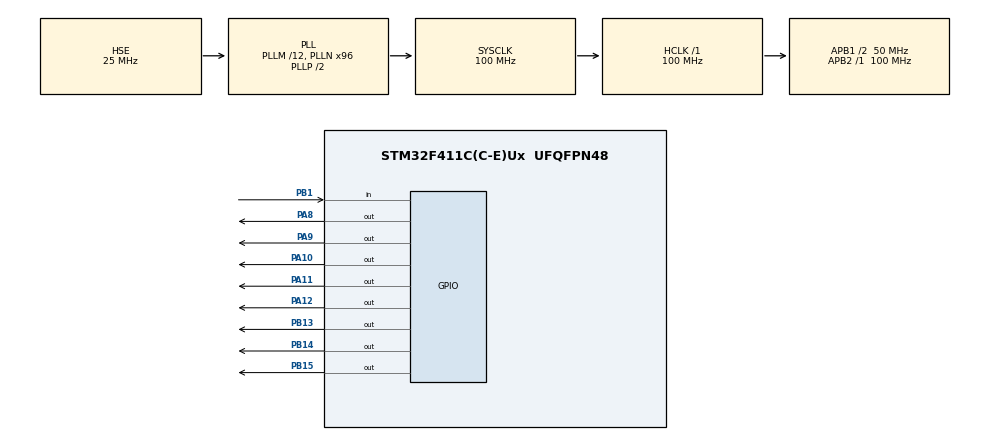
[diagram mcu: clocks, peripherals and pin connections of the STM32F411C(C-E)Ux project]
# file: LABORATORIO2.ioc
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Mcu.Family=STM32F4
Mcu.Name=STM32F411C(C-E)Ux
Mcu.Package=UFQFPN48
NVIC.PriorityGroup=NVIC_PRIORITYGROUP_4
PA10.Signal=GPIO_Output
PA11.Signal=GPIO_Output
PA12.Signal=GPIO_Output
PA13.Mode=Serial_Wire
PA13.Signal=SYS_JTMS-SWDIO
PA14.Mode=Serial_Wire
PA14.Signal=SYS_JTCK-SWCLK
PA8.Signal=GPIO_Output
PA9.Signal=GPIO_Output
PB1.GPIO_PuPd=GPIO_NOPULL
PB1.Signal=GPIO_Input
PB13.Signal=GPIO_Output
PB14.Signal=GPIO_Output
PB15.Signal=GPIO_Output
PH0\ -\ OSC_IN.Mode=HSE-External-Oscillator
PH0\ -\ OSC_IN.Signal=RCC_OSC_IN
PH1\ -\ OSC_OUT.Mode=HSE-External-Oscillator
PH1\ -\ OSC_OUT.Signal=RCC_OSC_OUT
ProjectManager.HeapSize=0x200
ProjectManager.StackSize=0x400
ProjectManager.TargetToolchain=STM32CubeIDE
RCC.48MHZClocksFreq_Value=50000000
RCC.AHBFreq_Value=100000000
RCC.APB1CLKDivider=RCC_HCLK_DIV2
RCC.APB1Freq_Value=50000000
RCC.APB1TimFreq_Value=100000000
RCC.APB2Freq_Value=100000000
RCC.APB2TimFreq_Value=100000000
RCC.CortexFreq_Value=100000000
RCC.HCLKFreq_Value=100000000
RCC.HSE_VALUE=25000000
RCC.HSI_VALUE=16000000
RCC.PLLM=12
RCC.PLLN=96
RCC.PLLSourceVirtual=RCC_PLLSOURCE_HSE
RCC.SYSCLKFreq_VALUE=100000000
RCC.SYSCLKSource=RCC_SYSCLKSOURCE_PLLCLK
RCC.VCOOutputFreq_Value=200000000
board=custom

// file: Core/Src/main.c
/* USER CODE BEGIN Header */
/**
  ******************************************************************************
  * @file           : main.c
  * @brief          : Main program body
  ******************************************************************************
  * @attention
  *
  * Copyright (c) 2025 STMicroelectronics.
  * All rights reserved.
  *
  * This software is licensed under terms that can be found in the LICENSE file
  * in the root directory of this software component.
  * If no LICENSE file comes with this software, it is provided AS-IS.
  *
  ******************************************************************************
  */
/* USER CODE END Header */
#include "main.h"

void SystemClock_Config(void);
static void MX_GPIO_Init(void);

/* USER CODE BEGIN 0 */
#include "stm32f4xx.h"
#include "stm32f4xx_hal.h"
#define SENSOR_PIN GPIO_PIN_1  // PB1 (Fotocelda)
#define SENSOR_PORT GPIOB
uint32_t CLAVE = 0x3CF88FB7;
const uint16_t LED_PINS[8] = {GPIO_PIN_12, GPIO_PIN_11, GPIO_PIN_10, GPIO_PIN_9,
                              GPIO_PIN_8, GPIO_PIN_15, GPIO_PIN_14, GPIO_PIN_13};

GPIO_TypeDef* LED_PORTS[8] = {GPIOA, GPIOA, GPIOA, GPIOA, GPIOA, GPIOB, GPIOB, GPIOB};
void SystemClock_Config(void);
void GPIO_Init(void);
void MostrarEnLEDs(uint8_t valor);
uint32_t tiempo_base = 0;
uint32_t tiempo = 0;
uint32_t token = 0;
uint32_t contador = 0;
uint8_t sincronizado = 0;
uint8_t byte_menos_significativo = 0;
/* USER CODE END 0 */

int main(void)
{

  /* MCU Configuration--------------------------------------------------------*/

  /* Reset of all peripherals, Initializes the Flash interface and the Systick. */
  HAL_Init();

  /* Configure the system clock */
  SystemClock_Config();

  /* Initialize all configured peripherals */
  MX_GPIO_Init();

  /* Infinite loop */
  while (1)
  {

    /* USER CODE BEGIN 3 */

 HAL_Delay(9);

        tiempo += 10;
        contador += 10;

        if (!sincronizado) {
                if (HAL_GPIO_ReadPin(SENSOR_PORT, SENSOR_PIN) == GPIO_PIN_SET) {
                    tiempo = 0;  // Reiniciar tiempo sincronizado
                    contador = 0;
                    sincronizado = 1;  // Marcar sincronización
                    token = tiempo ^ CLAVE;
                    byte_menos_significativo = token & 0xFF;
                    MostrarEnLEDs(byte_menos_significativo);
                }
            }
        if (sincronizado && contador >= 30000) {
                   contador = 0;
                   token = tiempo ^ CLAVE;  // Generar el TOKEN
                   byte_menos_significativo = token & 0xFF;  // Extraer los 8 bits menos significativos
                   MostrarEnLEDs(byte_menos_significativo);  // Mostrar en los LEDs
               }

  /* USER CODE END 3 */
}
}

void SystemClock_Config(void)
{
  RCC_OscInitTypeDef RCC_OscInitStruct = {0};
  RCC_ClkInitTypeDef RCC_ClkInitStruct = {0};

  /** Configure the main internal regulator output voltage
  */
  __HAL_RCC_PWR_CLK_ENABLE();
  __HAL_PWR_VOLTAGESCALING_CONFIG(PWR_REGULATOR_VOLTAGE_SCALE1);

  /** Initializes the RCC Oscillators according to the specified parameters
  * in the RCC_OscInitTypeDef structure.
  */
  RCC_OscInitStruct.OscillatorType = RCC_OSCILLATORTYPE_HSE;
  RCC_OscInitStruct.HSEState = RCC_HSE_ON;
  RCC_OscInitStruct.PLL.PLLState = RCC_PLL_ON;
  RCC_OscInitStruct.PLL.PLLSource = RCC_PLLSOURCE_HSE;
  RCC_OscInitStruct.PLL.PLLM = 12;
  RCC_OscInitStruct.PLL.PLLN = 96;
  RCC_OscInitStruct.PLL.PLLP = RCC_PLLP_DIV2;
  RCC_OscInitStruct.PLL.PLLQ = 4;
  if (HAL_RCC_OscConfig(&RCC_OscInitStruct) != HAL_OK)
  {
    Error_Handler();
  }

  /** Initializes the CPU, AHB and APB buses clocks
  */
  RCC_ClkInitStruct.ClockType = RCC_CLOCKTYPE_HCLK|RCC_CLOCKTYPE_SYSCLK
                              |RCC_CLOCKTYPE_PCLK1|RCC_CLOCKTYPE_PCLK2;
  RCC_ClkInitStruct.SYSCLKSource = RCC_SYSCLKSOURCE_PLLCLK;
  RCC_ClkInitStruct.AHBCLKDivider = RCC_SYSCLK_DIV1;
  RCC_ClkInitStruct.APB1CLKDivider = RCC_HCLK_DIV2;
  RCC_ClkInitStruct.APB2CLKDivider = RCC_HCLK_DIV1;

  if (HAL_RCC_ClockConfig(&RCC_ClkInitStruct, FLASH_LATENCY_3) != HAL_OK)
  {
    Error_Handler();
  }
}

static void MX_GPIO_Init(void)
{
  GPIO_InitTypeDef GPIO_InitStruct = {0};

  /* GPIO Ports Clock Enable */
  __HAL_RCC_GPIOH_CLK_ENABLE();
  __HAL_RCC_GPIOB_CLK_ENABLE();
  __HAL_RCC_GPIOA_CLK_ENABLE();

  /*Configure GPIO pin Output Level */
  HAL_GPIO_WritePin(GPIOB, GPIO_PIN_13|GPIO_PIN_14|GPIO_PIN_15, GPIO_PIN_RESET);

  /*Configure GPIO pin Output Level */
  HAL_GPIO_WritePin(GPIOA, GPIO_PIN_8|GPIO_PIN_9|GPIO_PIN_10|GPIO_PIN_11
                          |GPIO_PIN_12, GPIO_PIN_RESET);

  /*Configure GPIO pin : PB1 */
  GPIO_InitStruct.Pin = GPIO_PIN_1;
  GPIO_InitStruct.Mode = GPIO_MODE_INPUT;
  GPIO_InitStruct.Pull = GPIO_NOPULL;
  HAL_GPIO_Init(GPIOB, &GPIO_InitStruct);

  /*Configure GPIO pins : PB13 PB14 PB15 */
  GPIO_InitStruct.Pin = GPIO_PIN_13|GPIO_PIN_14|GPIO_PIN_15;
  GPIO_InitStruct.Mode = GPIO_MODE_OUTPUT_PP;
  GPIO_InitStruct.Pull = GPIO_NOPULL;
  GPIO_InitStruct.Speed = GPIO_SPEED_FREQ_LOW;
  HAL_GPIO_Init(GPIOB, &GPIO_InitStruct);

  /*Configure GPIO pins : PA8 PA9 PA10 PA11
                           PA12 */
  GPIO_InitStruct.Pin = GPIO_PIN_8|GPIO_PIN_9|GPIO_PIN_10|GPIO_PIN_11
                          |GPIO_PIN_12;
  GPIO_InitStruct.Mode = GPIO_MODE_OUTPUT_PP;
  GPIO_InitStruct.Pull = GPIO_NOPULL;
  GPIO_InitStruct.Speed = GPIO_SPEED_FREQ_LOW;
  HAL_GPIO_Init(GPIOA, &GPIO_InitStruct);

}

/* USER CODE BEGIN 4 */
void MostrarEnLEDs(uint8_t valor) {
    for (int i = 0; i < 8; i++) {
        if (valor & (1 << i)) {
            HAL_GPIO_WritePin(LED_PORTS[i], LED_PINS[i], GPIO_PIN_SET); // Encender LED
        } else {
            HAL_GPIO_WritePin(LED_PORTS[i], LED_PINS[i], GPIO_PIN_RESET); // Apagar LED
        }
    }
}
/* USER CODE END 4 */

void Error_Handler(void)
{
  __disable_irq();
  while (1)
  {
  }
}
